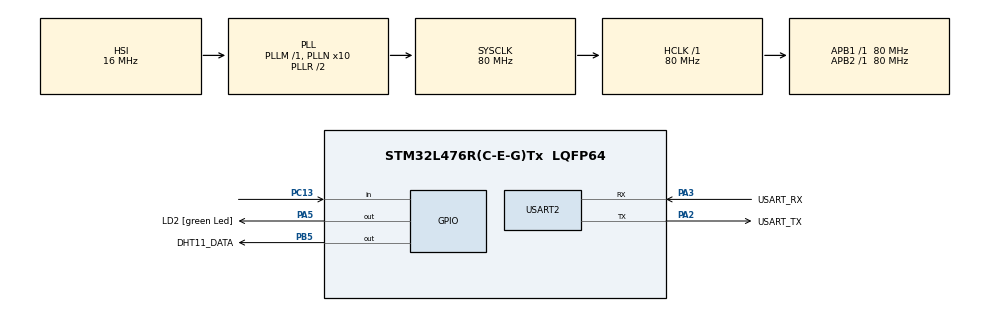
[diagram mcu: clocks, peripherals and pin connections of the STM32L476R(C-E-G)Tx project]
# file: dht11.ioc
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Mcu.Family=STM32L4
Mcu.Name=STM32L476R(C-E-G)Tx
Mcu.Package=LQFP64
NVIC.PriorityGroup=NVIC_PRIORITYGROUP_4
PA13\ (JTMS-SWDIO).GPIO_Label=TMS
PA13\ (JTMS-SWDIO).Mode=Serial_Wire
PA13\ (JTMS-SWDIO).Signal=SYS_JTMS-SWDIO
PA14\ (JTCK-SWCLK).GPIO_Label=TCK
PA14\ (JTCK-SWCLK).Mode=Serial_Wire
PA14\ (JTCK-SWCLK).Signal=SYS_JTCK-SWCLK
PA2.GPIO_Label=USART_TX
PA2.GPIO_Mode=GPIO_MODE_AF_PP
PA2.GPIO_PuPd=GPIO_NOPULL
PA2.GPIO_Speed=GPIO_SPEED_FREQ_VERY_HIGH
PA2.Mode=Asynchronous
PA2.Signal=USART2_TX
PA3.GPIO_Label=USART_RX
PA3.GPIO_Mode=GPIO_MODE_AF_PP
PA3.GPIO_PuPd=GPIO_NOPULL
PA3.GPIO_Speed=GPIO_SPEED_FREQ_VERY_HIGH
PA3.Mode=Asynchronous
PA3.Signal=USART2_RX
PA5.GPIO_Label=LD2 [green Led]
PA5.GPIO_ModeDefaultOutputPP=GPIO_MODE_OUTPUT_PP
PA5.GPIO_PuPd=GPIO_NOPULL
PA5.GPIO_Speed=GPIO_SPEED_FREQ_LOW
PA5.Signal=GPIO_Output
PB3\ (JTDO-TRACESWO).GPIO_Label=SWO
PB3\ (JTDO-TRACESWO).Signal=SYS_JTDO-SWO
PB5.GPIO_Label=DHT11_DATA
PB5.Signal=GPIO_Output
PC13.Signal=GPIO_Input
PC14-OSC32_IN\ (PC14).Mode=LSE-External-Oscillator
PC14-OSC32_IN\ (PC14).Signal=RCC_OSC32_IN
PC15-OSC32_OUT\ (PC15).Mode=LSE-External-Oscillator
PC15-OSC32_OUT\ (PC15).Signal=RCC_OSC32_OUT
PH0-OSC_IN\ (PH0).Signal=RCC_OSC_IN
PH1-OSC_OUT\ (PH1).Signal=RCC_OSC_OUT
ProjectManager.HeapSize=0x200
ProjectManager.StackSize=0x400
ProjectManager.TargetToolchain=CMake
RCC.ADCFreq_Value=64000000
RCC.AHBFreq_Value=80000000
RCC.APB1Freq_Value=80000000
RCC.APB1TimFreq_Value=80000000
RCC.APB2Freq_Value=80000000
RCC.APB2TimFreq_Value=80000000
RCC.CortexFreq_Value=80000000
RCC.HCLKFreq_Value=80000000
RCC.HSE_VALUE=8000000
RCC.HSI_VALUE=16000000
RCC.MSI_VALUE=4000000
RCC.PLLN=10
RCC.PLLSourceVirtual=RCC_PLLSOURCE_HSI
RCC.PREFETCH_ENABLE=1
RCC.SYSCLKFreq_VALUE=80000000
RCC.SYSCLKSource=RCC_SYSCLKSOURCE_PLLCLK
RCC.USBFreq_Value=64000000
RCC.VCOOutputFreq_Value=160000000
TIM2.Prescaler=79
USART2.VirtualMode-Asynchronous=VM_ASYNC
VP_TIM2_VS_ClockSourceINT.Mode=Internal
board=NUCLEO-L476RG

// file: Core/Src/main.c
/* USER CODE BEGIN Header */
/**
  ******************************************************************************
  * @file           : main.c
  * @brief          : Main program body
  ******************************************************************************
  * @attention
  *
  * Copyright (c) 2026 STMicroelectronics.
  * All rights reserved.
  *
  * This software is licensed under terms that can be found in the LICENSE file
  * in the root directory of this software component.
  * If no LICENSE file comes with this software, it is provided AS-IS.
  *
  ******************************************************************************
  */
/* USER CODE END Header */
#include "main.h"

/* USER CODE BEGIN Includes */
#include "dht11.h"
#include <stdio.h>
/* USER CODE END Includes */

TIM_HandleTypeDef htim2;

UART_HandleTypeDef huart2;

void SystemClock_Config(void);
static void MX_GPIO_Init(void);
static void MX_TIM2_Init(void);
static void MX_USART2_UART_Init(void);

/* USER CODE BEGIN 0 */
int __io_putchar(int ch)
{
    HAL_UART_Transmit(&huart2, (uint8_t *)&ch, 1, HAL_MAX_DELAY);
    return ch;
}
/* USER CODE END 0 */

int main(void)
{

  /* MCU Configuration--------------------------------------------------------*/

  /* Reset of all peripherals, Initializes the Flash interface and the Systick. */
  HAL_Init();

  /* Configure the system clock */
  SystemClock_Config();

  /* Initialize all configured peripherals */
  MX_GPIO_Init();
  MX_TIM2_Init();
  MX_USART2_UART_Init();
  /* USER CODE BEGIN 2 */
  DHT11_Init(&htim2);
  /* USER CODE END 2 */

  /* Infinite loop */
  /* USER CODE BEGIN WHILE */
  while (1)
  {
    DHT11_Data_t d;
    DHT11_Status_t s;
    /* USER CODE END WHILE */

    /* USER CODE BEGIN 3 */
    s = DHT11_Read(&d);

    if (DHT11_OK == s)
    {
      printf("Temp: %d.%d C  Hum: %d.%d%%\r\n",
            d.temp_int, d.temp_dec, d.humidity_int, d.humidity_dec);
    }
    else if (DHT11_TIMEOUT == s)
    {
      printf("DHT11: timeout\r\n");
    }
    else
    {
      printf("DHT11: checksum error\r\n");
    }
    HAL_Delay(5000);
  }
  /* USER CODE END 3 */
}

void SystemClock_Config(void)
{
  RCC_OscInitTypeDef RCC_OscInitStruct = {0};
  RCC_ClkInitTypeDef RCC_ClkInitStruct = {0};

  /** Configure the main internal regulator output voltage
  */
  if (HAL_PWREx_ControlVoltageScaling(PWR_REGULATOR_VOLTAGE_SCALE1) != HAL_OK)
  {
    Error_Handler();
  }

  /** Initializes the RCC Oscillators according to the specified parameters
  * in the RCC_OscInitTypeDef structure.
  */
  RCC_OscInitStruct.OscillatorType = RCC_OSCILLATORTYPE_HSI;
  RCC_OscInitStruct.HSIState = RCC_HSI_ON;
  RCC_OscInitStruct.HSICalibrationValue = RCC_HSICALIBRATION_DEFAULT;
  RCC_OscInitStruct.PLL.PLLState = RCC_PLL_ON;
  RCC_OscInitStruct.PLL.PLLSource = RCC_PLLSOURCE_HSI;
  RCC_OscInitStruct.PLL.PLLM = 1;
  RCC_OscInitStruct.PLL.PLLN = 10;
  RCC_OscInitStruct.PLL.PLLP = RCC_PLLP_DIV7;
  RCC_OscInitStruct.PLL.PLLQ = RCC_PLLQ_DIV2;
  RCC_OscInitStruct.PLL.PLLR = RCC_PLLR_DIV2;
  if (HAL_RCC_OscConfig(&RCC_OscInitStruct) != HAL_OK)
  {
    Error_Handler();
  }

  /** Initializes the CPU, AHB and APB buses clocks
  */
  RCC_ClkInitStruct.ClockType = RCC_CLOCKTYPE_HCLK|RCC_CLOCKTYPE_SYSCLK
                              |RCC_CLOCKTYPE_PCLK1|RCC_CLOCKTYPE_PCLK2;
  RCC_ClkInitStruct.SYSCLKSource = RCC_SYSCLKSOURCE_PLLCLK;
  RCC_ClkInitStruct.AHBCLKDivider = RCC_SYSCLK_DIV1;
  RCC_ClkInitStruct.APB1CLKDivider = RCC_HCLK_DIV1;
  RCC_ClkInitStruct.APB2CLKDivider = RCC_HCLK_DIV1;

  if (HAL_RCC_ClockConfig(&RCC_ClkInitStruct, FLASH_LATENCY_4) != HAL_OK)
  {
    Error_Handler();
  }
}

static void MX_TIM2_Init(void)
{

  TIM_ClockConfigTypeDef sClockSourceConfig = {0};
  TIM_MasterConfigTypeDef sMasterConfig = {0};

  htim2.Instance = TIM2;
  htim2.Init.Prescaler = 79;
  htim2.Init.CounterMode = TIM_COUNTERMODE_UP;
  htim2.Init.Period = 4294967295;
  htim2.Init.ClockDivision = TIM_CLOCKDIVISION_DIV1;
  htim2.Init.AutoReloadPreload = TIM_AUTORELOAD_PRELOAD_DISABLE;
  if (HAL_TIM_Base_Init(&htim2) != HAL_OK)
  {
    Error_Handler();
  }
  sClockSourceConfig.ClockSource = TIM_CLOCKSOURCE_INTERNAL;
  if (HAL_TIM_ConfigClockSource(&htim2, &sClockSourceConfig) != HAL_OK)
  {
    Error_Handler();
  }
  sMasterConfig.MasterOutputTrigger = TIM_TRGO_RESET;
  sMasterConfig.MasterSlaveMode = TIM_MASTERSLAVEMODE_DISABLE;
  if (HAL_TIMEx_MasterConfigSynchronization(&htim2, &sMasterConfig) != HAL_OK)
  {
    Error_Handler();
  }

}

static void MX_USART2_UART_Init(void)
{

  huart2.Instance = USART2;
  huart2.Init.BaudRate = 115200;
  huart2.Init.WordLength = UART_WORDLENGTH_8B;
  huart2.Init.StopBits = UART_STOPBITS_1;
  huart2.Init.Parity = UART_PARITY_NONE;
  huart2.Init.Mode = UART_MODE_TX_RX;
  huart2.Init.HwFlowCtl = UART_HWCONTROL_NONE;
  huart2.Init.OverSampling = UART_OVERSAMPLING_16;
  huart2.Init.OneBitSampling = UART_ONE_BIT_SAMPLE_DISABLE;
  huart2.AdvancedInit.AdvFeatureInit = UART_ADVFEATURE_NO_INIT;
  if (HAL_UART_Init(&huart2) != HAL_OK)
  {
    Error_Handler();
  }

}

static void MX_GPIO_Init(void)
{
  GPIO_InitTypeDef GPIO_InitStruct = {0};

  /* GPIO Ports Clock Enable */
  __HAL_RCC_GPIOC_CLK_ENABLE();
  __HAL_RCC_GPIOH_CLK_ENABLE();
  __HAL_RCC_GPIOA_CLK_ENABLE();
  __HAL_RCC_GPIOB_CLK_ENABLE();

  /*Configure GPIO pin Output Level */
  HAL_GPIO_WritePin(LD2_GPIO_Port, LD2_Pin, GPIO_PIN_RESET);

  /*Configure GPIO pin Output Level */
  HAL_GPIO_WritePin(DHT11_DATA_GPIO_Port, DHT11_DATA_Pin, GPIO_PIN_RESET);

  /*Configure GPIO pin : PC13 */
  GPIO_InitStruct.Pin = GPIO_PIN_13;
  GPIO_InitStruct.Mode = GPIO_MODE_INPUT;
  GPIO_InitStruct.Pull = GPIO_NOPULL;
  HAL_GPIO_Init(GPIOC, &GPIO_InitStruct);

  /*Configure GPIO pin : LD2_Pin */
  GPIO_InitStruct.Pin = LD2_Pin;
  GPIO_InitStruct.Mode = GPIO_MODE_OUTPUT_PP;
  GPIO_InitStruct.Pull = GPIO_NOPULL;
  GPIO_InitStruct.Speed = GPIO_SPEED_FREQ_LOW;
  HAL_GPIO_Init(LD2_GPIO_Port, &GPIO_InitStruct);

  /*Configure GPIO pin : DHT11_DATA_Pin */
  GPIO_InitStruct.Pin = DHT11_DATA_Pin;
  GPIO_InitStruct.Mode = GPIO_MODE_OUTPUT_PP;
  GPIO_InitStruct.Pull = GPIO_NOPULL;
  GPIO_InitStruct.Speed = GPIO_SPEED_FREQ_LOW;
  HAL_GPIO_Init(DHT11_DATA_GPIO_Port, &GPIO_InitStruct);

}

void Error_Handler(void)
{
  __disable_irq();
  while (1)
  {
  }
}
